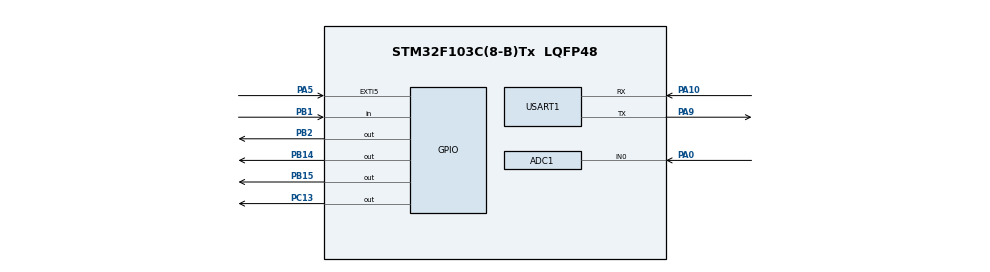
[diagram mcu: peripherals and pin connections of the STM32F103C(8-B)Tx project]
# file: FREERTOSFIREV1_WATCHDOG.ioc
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ADC1.Channel-0\#ChannelRegularConversion=ADC_CHANNEL_0
ADC1.NbrOfConversionFlag=1
ADC1.Rank-0\#ChannelRegularConversion=1
ADC1.SamplingTime-0\#ChannelRegularConversion=ADC_SAMPLETIME_1CYCLE_5
ADC1.master=1
FREERTOS.BinarySemaphores01=UART,Dynamic,NULL
FREERTOS.Tasks01=Task1,-3,128,Task1function,Default,NULL,Dynamic,NULL,NULL;Task2,-2,128,task2functiom,Default,NULL,Dynamic,NULL,NULL;Task3,-1,128,task3function,Default,NULL,Dynamic,NULL,NULL;Task4,-1,128,task4function,Default,NULL,Dynamic,NULL,NULL;Task5,0,128,task5function,Default,NULL,Dynamic,NULL,NULL;Task6,0,128,task6function,Default,NULL,Dynamic,NULL,NULL;Task7,1,128,task7function,Default,NULL,Dynamic,NULL,NULL
FREERTOS.configTOTAL_HEAP_SIZE=5120
IWDG.Prescaler=IWDG_PRESCALER_256
IWDG.Reload=624
Mcu.Family=STM32F1
Mcu.Name=STM32F103C(8-B)Tx
Mcu.Package=LQFP48
NVIC.EXTI9_5_IRQn=true\:5\:0\:false\:false\:true\:true\:true\:true\:true
NVIC.PriorityGroup=NVIC_PRIORITYGROUP_4
NVIC.USART1_IRQn=true\:5\:0\:false\:false\:true\:true\:true\:true\:true
PA0-WKUP.Signal=ADCx_IN0
PA10.Mode=Asynchronous
PA10.Signal=USART1_RX
PA13.Mode=Serial_Wire
PA13.Signal=SYS_JTMS-SWDIO
PA14.Mode=Serial_Wire
PA14.Signal=SYS_JTCK-SWCLK
PA5.GPIO_ModeDefaultEXTI=GPIO_MODE_IT_FALLING
PA5.GPIO_PuPd=GPIO_PULLUP
PA5.Signal=GPXTI5
PA9.Mode=Asynchronous
PA9.Signal=USART1_TX
PB1.GPIO_PuPd=GPIO_PULLUP
PB1.Signal=GPIO_Input
PB14.GPIO_PuPd=GPIO_PULLDOWN
PB14.Signal=GPIO_Output
PB15.GPIO_PuPd=GPIO_PULLDOWN
PB15.Signal=GPIO_Output
PB2.GPIO_PuPd=GPIO_PULLDOWN
PB2.Signal=GPIO_Output
PC13-TAMPER-RTC.GPIO_PuPd=GPIO_PULLUP
PC13-TAMPER-RTC.Signal=GPIO_Output
PC14-OSC32_IN.Mode=LSE-External-Oscillator
PC14-OSC32_IN.Signal=RCC_OSC32_IN
PC15-OSC32_OUT.Mode=LSE-External-Oscillator
PC15-OSC32_OUT.Signal=RCC_OSC32_OUT
PD0-OSC_IN.Mode=HSE-External-Oscillator
PD0-OSC_IN.Signal=RCC_OSC_IN
PD1-OSC_OUT.Mode=HSE-External-Oscillator
PD1-OSC_OUT.Signal=RCC_OSC_OUT
ProjectManager.HeapSize=0x200
ProjectManager.StackSize=0x400
ProjectManager.TargetToolchain=MDK-ARM V5.32
RCC.APB1Freq_Value=8000000
RCC.APB2Freq_Value=8000000
SH.ADCx_IN0.0=ADC1_IN0,IN0
USART1.VirtualMode=VM_ASYNC
VP_FREERTOS_VS_CMSIS_V1.Mode=CMSIS_V1
VP_IWDG_VS_IWDG.Mode=IWDG_Activate
board=custom

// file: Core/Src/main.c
/* USER CODE BEGIN Header */
/**
  ******************************************************************************
  * @file           : main.c
  * @brief          : Main program body
  ******************************************************************************
  * @attention
  *
  * Copyright (c) 2024 STMicroelectronics.
  * All rights reserved.
  *
  * This software is licensed under terms that can be found in the LICENSE file
  * in the root directory of this software component.
  * If no LICENSE file comes with this software, it is provided AS-IS.
  *
  ******************************************************************************
  */
/* USER CODE END Header */
#include "main.h"
#include "cmsis_os.h"

/* USER CODE BEGIN Includes */
#include <math.h>
/* USER CODE END Includes */

/* USER CODE BEGIN PTD */
#define NTC_R 10000.0f
#define A 0.0008736528f
#define B 0.000253893f
#define C 0.0000001816f
/* USER CODE END PTD */

/* USER CODE BEGIN PD */
#define tick 100
/* USER CODE END PD */

ADC_HandleTypeDef hadc1;

IWDG_HandleTypeDef hiwdg;

UART_HandleTypeDef huart1;

osThreadId Task1Handle;
osThreadId Task2Handle;
osThreadId Task3Handle;
osThreadId Task4Handle;
osThreadId Task5Handle;
osThreadId Task6Handle;
osThreadId Task7Handle;
osSemaphoreId UARTHandle;
/* USER CODE BEGIN PV */

char Tx_data1[2]= "s";//
char Tx_data2[2]= "o";  									// control on
char Tx_data3[2]= "a";
char Rx_data[2];
char Tx_data4[2]= "f"; 										// control off

uint32_t ntc_adc = 0 ;
int temp = 0 ;												// bien trung gian doi tu adc => do C
uint8_t cbhn = 1 ;    										// 1 -  khong phat hien lua , 0 - phat hien lua
int warning ;										// 0 -  khong canh bao	, 1 - co canh bao

int connection = 0 ;
int time_check = 0 ;

int write_on	=	0	;
int write_off	=	0	;
int ntc_trunggian = 3000;

/* USER CODE END PV */

void SystemClock_Config(void);
static void MX_GPIO_Init(void);
static void MX_ADC1_Init(void);
static void MX_IWDG_Init(void);
static void MX_USART1_UART_Init(void);
void Task1function(void const * argument);
void task2functiom(void const * argument);
void task3function(void const * argument);
void task4function(void const * argument);
void task5function(void const * argument);
void task6function(void const * argument);
void task7function(void const * argument);

/* USER CODE BEGIN PFP */
void alarm(){
	  if (warning  == 1 ){
		  HAL_GPIO_TogglePin( GPIOB, GPIO_PIN_14);
		  HAL_GPIO_TogglePin( GPIOB, GPIO_PIN_15);
		// if(write_on==0){
			 // write_on =1;
			// write_off=0;
			  HAL_UART_Transmit(&huart1,(uint8_t*)Tx_data2,1,1000);

		 // }  		// o

	 }
	  else if(warning == 0){
		  HAL_GPIO_WritePin(GPIOB , GPIO_PIN_14, GPIO_PIN_RESET);
		  HAL_GPIO_WritePin(GPIOB , GPIO_PIN_15, GPIO_PIN_RESET);

		  //f(write_off==0){
			 // write_off =1;
		//write_on=0;
			  HAL_UART_Transmit(&huart1,(uint8_t*)Tx_data4,1,1000);
		  //} 	// f
		  }
	  }

void check_connection(){
	if(connection < 5){
			HAL_GPIO_WritePin(GPIOB, GPIO_PIN_2, GPIO_PIN_SET ) ;

	}
	else{

			HAL_GPIO_TogglePin(GPIOB, GPIO_PIN_2);
	}
}
void ADC_convert(){
		int Ntc_R = 0;
		float Ntc_Tmp = 0 ;
		Ntc_R = ((NTC_R)/((4095.0/ntc_adc) - 1));
		float Ntc_Ln = log(Ntc_R);
		Ntc_Tmp = (1.0/(A + B*Ntc_Ln + C*Ntc_Ln*Ntc_Ln*Ntc_Ln)) - 273;
		temp = (int) Ntc_Tmp;
}
void write_check(){
	  	HAL_UART_Transmit(&huart1, (uint8_t*)Tx_data3, 1, 1000);	//&huart1,(uint8_t*)Tx_data3,1,1000
	  	connection++ ;
}

void read_CBHN(){
		//cbhn = 1;
		cbhn = HAL_GPIO_ReadPin(GPIOB,GPIO_PIN_1);
}
void read_ADC(){
		int i;
		int count =0;
		ntc_adc = 4000 ;
		for( i =0 ;i<100;i++) {count ++ ;}
		HAL_ADC_Start(&hadc1);
		for( i =0 ;i<10;i++) {count ++ ;}
		ntc_adc = HAL_ADC_GetValue(&hadc1);
		HAL_ADC_Stop(&hadc1);
		ntc_trunggian = (int)ntc_adc;
	  }
void temp_check(){
	  if(cbhn == 0 ) {
		  warning = 1 ;
	  }
	  if(ntc_trunggian < 300 ) {
		  warning  = 1 ;
	  }
	  }

void warning_check(){
		  alarm();
	  }

void HAL_GPIO_EXTI_Callback(uint16_t GPIO_PIN)
{
  if(GPIO_PIN == GPIO_PIN_5){

		if (warning == 0){
				warning = 1;
				HAL_UART_Transmit(&huart1,(uint8_t*)Tx_data2,1,1000);
				//alarm();
			}
			else //if ( warning == 1 )
				{
					HAL_GPIO_WritePin(GPIOB , GPIO_PIN_14, GPIO_PIN_RESET);
				HAL_GPIO_WritePin(GPIOB , GPIO_PIN_15, GPIO_PIN_RESET);
				warning = 0;
			HAL_UART_Transmit(&huart1,(uint8_t*)Tx_data4,1,1000);
				//alarm();
			}
	}
}
void HAL_UART_RxCpltCallback(UART_HandleTypeDef *huart){
				//BaseType_t xHigher;
					osSemaphoreWait(UARTHandle,osWaitForever);
					if(huart->Instance == USART1){

					//	osSemaphoreRelease(BinarySemaphoreUARTHandle);
							//Rx_data[0] = 'z' ; // khoi tao gia tri ban dau
            	HAL_UART_Receive_IT(&huart1,(uint8_t*)Rx_data,2);
            	if(Rx_data[0]=='a') {
								connection = 0 ;
            	}
            	 if(Rx_data[0]=='o') {
								//if(warning ==0 ){
								warning = 1;
							//}
            	}
							if(Rx_data[0]=='f') {
								//if(warning ==1){
								warning = 0 ;
								//}
            	}
  }
						 osSemaphoreRelease(UARTHandle);
}

/* USER CODE END PFP */

int main(void)
{
  /* USER CODE BEGIN 1 */
warning =0 ;
  /* USER CODE END 1 */

  /* MCU Configuration--------------------------------------------------------*/

  /* Reset of all peripherals, Initializes the Flash interface and the Systick. */
  HAL_Init();

  /* Configure the system clock */
  SystemClock_Config();

  /* Initialize all configured peripherals */
  MX_GPIO_Init();
  MX_ADC1_Init();
  MX_IWDG_Init();
  MX_USART1_UART_Init();
  /* USER CODE BEGIN 2 */
HAL_UART_Receive_IT(&huart1,(uint8_t*)Rx_data,2);
  /* USER CODE END 2 */

  /* Create the semaphores(s) */
  /* definition and creation of UART */
  osSemaphoreDef(UART);
  UARTHandle = osSemaphoreCreate(osSemaphore(UART), 1);

  /* Create the thread(s) */
  /* definition and creation of Task1 */
  osThreadDef(Task1, Task1function, osPriorityIdle, 0, 128);
  Task1Handle = osThreadCreate(osThread(Task1), NULL);

  /* definition and creation of Task2 */
  osThreadDef(Task2, task2functiom, osPriorityLow, 0, 128);
  Task2Handle = osThreadCreate(osThread(Task2), NULL);

  /* definition and creation of Task3 */
  osThreadDef(Task3, task3function, osPriorityBelowNormal, 0, 128);
  Task3Handle = osThreadCreate(osThread(Task3), NULL);

  /* definition and creation of Task4 */
  osThreadDef(Task4, task4function, osPriorityBelowNormal, 0, 128);
  Task4Handle = osThreadCreate(osThread(Task4), NULL);

  /* definition and creation of Task5 */
  osThreadDef(Task5, task5function, osPriorityNormal, 0, 128);
  Task5Handle = osThreadCreate(osThread(Task5), NULL);

  /* definition and creation of Task6 */
  osThreadDef(Task6, task6function, osPriorityNormal, 0, 128);
  Task6Handle = osThreadCreate(osThread(Task6), NULL);

  /* definition and creation of Task7 */
  osThreadDef(Task7, task7function, osPriorityAboveNormal, 0, 128);
  Task7Handle = osThreadCreate(osThread(Task7), NULL);

  /* Start scheduler */
  osKernelStart();

  /* We should never get here as control is now taken by the scheduler */
  /* Infinite loop */
  while (1)
  {

  }
}

void SystemClock_Config(void)
{
  RCC_OscInitTypeDef RCC_OscInitStruct = {0};
  RCC_ClkInitTypeDef RCC_ClkInitStruct = {0};
  RCC_PeriphCLKInitTypeDef PeriphClkInit = {0};

  /** Initializes the RCC Oscillators according to the specified parameters
  * in the RCC_OscInitTypeDef structure.
  */
  RCC_OscInitStruct.OscillatorType = RCC_OSCILLATORTYPE_HSI|RCC_OSCILLATORTYPE_LSI;
  RCC_OscInitStruct.HSIState = RCC_HSI_ON;
  RCC_OscInitStruct.HSICalibrationValue = RCC_HSICALIBRATION_DEFAULT;
  RCC_OscInitStruct.LSIState = RCC_LSI_ON;
  RCC_OscInitStruct.PLL.PLLState = RCC_PLL_NONE;
  if (HAL_RCC_OscConfig(&RCC_OscInitStruct) != HAL_OK)
  {
    Error_Handler();
  }

  /** Initializes the CPU, AHB and APB buses clocks
  */
  RCC_ClkInitStruct.ClockType = RCC_CLOCKTYPE_HCLK|RCC_CLOCKTYPE_SYSCLK
                              |RCC_CLOCKTYPE_PCLK1|RCC_CLOCKTYPE_PCLK2;
  RCC_ClkInitStruct.SYSCLKSource = RCC_SYSCLKSOURCE_HSI;
  RCC_ClkInitStruct.AHBCLKDivider = RCC_SYSCLK_DIV1;
  RCC_ClkInitStruct.APB1CLKDivider = RCC_HCLK_DIV1;
  RCC_ClkInitStruct.APB2CLKDivider = RCC_HCLK_DIV1;

  if (HAL_RCC_ClockConfig(&RCC_ClkInitStruct, FLASH_LATENCY_0) != HAL_OK)
  {
    Error_Handler();
  }
  PeriphClkInit.PeriphClockSelection = RCC_PERIPHCLK_ADC;
  PeriphClkInit.AdcClockSelection = RCC_ADCPCLK2_DIV2;
  if (HAL_RCCEx_PeriphCLKConfig(&PeriphClkInit) != HAL_OK)
  {
    Error_Handler();
  }
}

static void MX_ADC1_Init(void)
{

  ADC_ChannelConfTypeDef sConfig = {0};

  /** Common config
  */
  hadc1.Instance = ADC1;
  hadc1.Init.ScanConvMode = ADC_SCAN_DISABLE;
  hadc1.Init.ContinuousConvMode = DISABLE;
  hadc1.Init.DiscontinuousConvMode = DISABLE;
  hadc1.Init.ExternalTrigConv = ADC_SOFTWARE_START;
  hadc1.Init.DataAlign = ADC_DATAALIGN_RIGHT;
  hadc1.Init.NbrOfConversion = 1;
  if (HAL_ADC_Init(&hadc1) != HAL_OK)
  {
    Error_Handler();
  }

  /** Configure Regular Channel
  */
  sConfig.Channel = ADC_CHANNEL_0;
  sConfig.Rank = ADC_REGULAR_RANK_1;
  sConfig.SamplingTime = ADC_SAMPLETIME_1CYCLE_5;
  if (HAL_ADC_ConfigChannel(&hadc1, &sConfig) != HAL_OK)
  {
    Error_Handler();
  }

}

static void MX_IWDG_Init(void)
{

  hiwdg.Instance = IWDG;
  hiwdg.Init.Prescaler = IWDG_PRESCALER_256;
  hiwdg.Init.Reload = 624;
  if (HAL_IWDG_Init(&hiwdg) != HAL_OK)
  {
    Error_Handler();
  }

}

static void MX_USART1_UART_Init(void)
{

  huart1.Instance = USART1;
  huart1.Init.BaudRate = 115200;
  huart1.Init.WordLength = UART_WORDLENGTH_8B;
  huart1.Init.StopBits = UART_STOPBITS_1;
  huart1.Init.Parity = UART_PARITY_NONE;
  huart1.Init.Mode = UART_MODE_TX_RX;
  huart1.Init.HwFlowCtl = UART_HWCONTROL_NONE;
  huart1.Init.OverSampling = UART_OVERSAMPLING_16;
  if (HAL_UART_Init(&huart1) != HAL_OK)
  {
    Error_Handler();
  }

}

static void MX_GPIO_Init(void)
{
  GPIO_InitTypeDef GPIO_InitStruct = {0};

  /* GPIO Ports Clock Enable */
  __HAL_RCC_GPIOC_CLK_ENABLE();
  __HAL_RCC_GPIOD_CLK_ENABLE();
  __HAL_RCC_GPIOA_CLK_ENABLE();
  __HAL_RCC_GPIOB_CLK_ENABLE();

  /*Configure GPIO pin Output Level */
  HAL_GPIO_WritePin(GPIOC, GPIO_PIN_13, GPIO_PIN_RESET);

  /*Configure GPIO pin Output Level */
  HAL_GPIO_WritePin(GPIOB, GPIO_PIN_2|GPIO_PIN_14|GPIO_PIN_15, GPIO_PIN_RESET);

  /*Configure GPIO pin : PC13 */
  GPIO_InitStruct.Pin = GPIO_PIN_13;
  GPIO_InitStruct.Mode = GPIO_MODE_OUTPUT_PP;
  GPIO_InitStruct.Pull = GPIO_PULLUP;
  GPIO_InitStruct.Speed = GPIO_SPEED_FREQ_LOW;
  HAL_GPIO_Init(GPIOC, &GPIO_InitStruct);

  /*Configure GPIO pin : PA5 */
  GPIO_InitStruct.Pin = GPIO_PIN_5;
  GPIO_InitStruct.Mode = GPIO_MODE_IT_FALLING;
  GPIO_InitStruct.Pull = GPIO_PULLUP;
  HAL_GPIO_Init(GPIOA, &GPIO_InitStruct);

  /*Configure GPIO pin : PB1 */
  GPIO_InitStruct.Pin = GPIO_PIN_1;
  GPIO_InitStruct.Mode = GPIO_MODE_INPUT;
  GPIO_InitStruct.Pull = GPIO_PULLUP;
  HAL_GPIO_Init(GPIOB, &GPIO_InitStruct);

  /*Configure GPIO pins : PB2 PB14 PB15 */
  GPIO_InitStruct.Pin = GPIO_PIN_2|GPIO_PIN_14|GPIO_PIN_15;
  GPIO_InitStruct.Mode = GPIO_MODE_OUTPUT_PP;
  GPIO_InitStruct.Pull = GPIO_PULLDOWN;
  GPIO_InitStruct.Speed = GPIO_SPEED_FREQ_LOW;
  HAL_GPIO_Init(GPIOB, &GPIO_InitStruct);

  /* EXTI interrupt init*/
  HAL_NVIC_SetPriority(EXTI9_5_IRQn, 5, 0);
  HAL_NVIC_EnableIRQ(EXTI9_5_IRQn);

}

void Task1function(void const * argument)
{
  for(;;)
  {
    osDelay(1);
  }
}

void task2functiom(void const * argument)
{
  /* USER CODE BEGIN task2functiom */
  /* Infinite loop */
  for(;;)
  {
		alarm();
    osDelay(1000);
  }
  /* USER CODE END task2functiom */
}

void task3function(void const * argument)
{
  /* USER CODE BEGIN task3function */
  /* Infinite loop */
  for(;;)
  {	check_connection();
    osDelay(1000);
  }
  /* USER CODE END task3function */
}

void task4function(void const * argument)
{
  /* USER CODE BEGIN task4function */
  /* Infinite loop */
  for(;;)
  {
		read_CBHN();
    osDelay(200);
  }
  /* USER CODE END task4function */
}

void task5function(void const * argument)
{
  /* USER CODE BEGIN task5function */
  /* Infinite loop */
  for(;;)
  {
		read_ADC();
    osDelay(200);
  }
  /* USER CODE END task5function */
}

void task6function(void const * argument)
{
  /* USER CODE BEGIN task6function */
  /* Infinite loop */
  for(;;)
  {
		temp_check();
    osDelay(800);
  }
  /* USER CODE END task6function */
}

void task7function(void const * argument)
{
  /* USER CODE BEGIN task7function */
  /* Infinite loop */
  for(;;)
  {
		write_check();
    osDelay(100);
		HAL_IWDG_Refresh(&hiwdg);

  }
  /* USER CODE END task7function */
}

void Error_Handler(void)
{
  __disable_irq();
  while (1)
  {
  }
}
